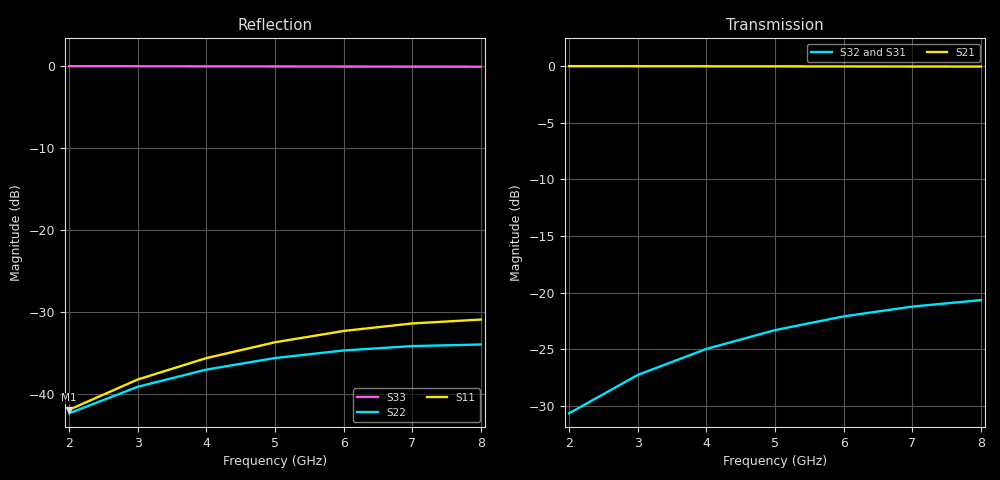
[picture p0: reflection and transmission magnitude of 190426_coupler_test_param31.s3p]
! Sonnet Data File
! From: emgraph Version : 16.56
! From Project: 190426_coupler_test
! Data is De-embedded
! Data File Written: 05/06/2019 15:59:44
!< HDATE 04/25/2019 10:48:44
!< MDATE 04/25/2019 10:59:35
!< PARAMS
!< tandelta = 0.0
!< t_aSi = 0.25
!< W = 10.0
!< Lcoupler = 3000.0
!< END PARAMS
# GHZ S MA R 50.0 !  non standard terminations in data
! TERM 50.00000 0.000000 50.00000 0.000000 63.84000 0.000000
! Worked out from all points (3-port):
!   7 points, 2 GHz to 8 GHz, reference 50 ohm
!   strongest paths, dB at 2 GHz, 3 GHz, 5 GHz, 7 GHz, 8 GHz:
!     S21: 0.0, 0.0, 0.0, 0.0, 0.0
!     S32: -30.7, -27.3, -23.3, -21.2, -20.7
!     S31: -30.7, -27.3, -23.5, -21.4, -20.9
!   lowest |S11| = -41.9 dB at 2 GHz (marker M1), VSWR 1.02, Z = 50.2 + j0.768 ohm
!   |S11| at or under -10 dB: start of sweep to end of sweep
2  0.008013 72.5  0.9995 -21.7  0.02921 45.5
   0.9995 -21.7  0.007624 69.6  0.02931 71.1
   0.02921 45.5  0.02931 71.1  0.9991 -42.0
3  0.01226 62.4  0.999 -32.6  0.04297 23.3
   0.999 -32.6  0.01107 59.5  0.0433 61.5
   0.04297 23.3  0.0433 61.5  0.9981 -63.1
4  0.01656 51.0  0.9983 -43.4  0.05573 1.0
   0.9983 -43.4  0.01409 49.4  0.05641 51.8
   0.05573 1.0  0.05641 51.8  0.9969 -84.3
5  0.02067 38.6  0.9975 -54.3  0.06716 -21.3
   0.9975 -54.3  0.01657 39.3  0.06828 41.9
   0.06716 -21.3  0.06828 41.9  0.9954 -105.6
6  0.02424 25.1  0.9967 -65.1  0.07692 -43.7
   0.9967 -65.1  0.01843 29.3  0.07852 31.9
   0.07692 -43.7  0.07852 31.9  0.9939 -127.1
7  0.02694 10.9  0.996 -75.9  0.08476 -66.1
   0.996 -75.9  0.0196 19.4  0.08675 21.7
   0.08476 -66.1  0.08675 21.7  0.9926 -148.6
8  0.02845 -4.0  0.9955 -86.7  0.09041 -88.5
   0.9955 -86.7  0.02005 9.5  0.09263 11.5
   0.09041 -88.5  0.09263 11.5  0.9916 -170.2
